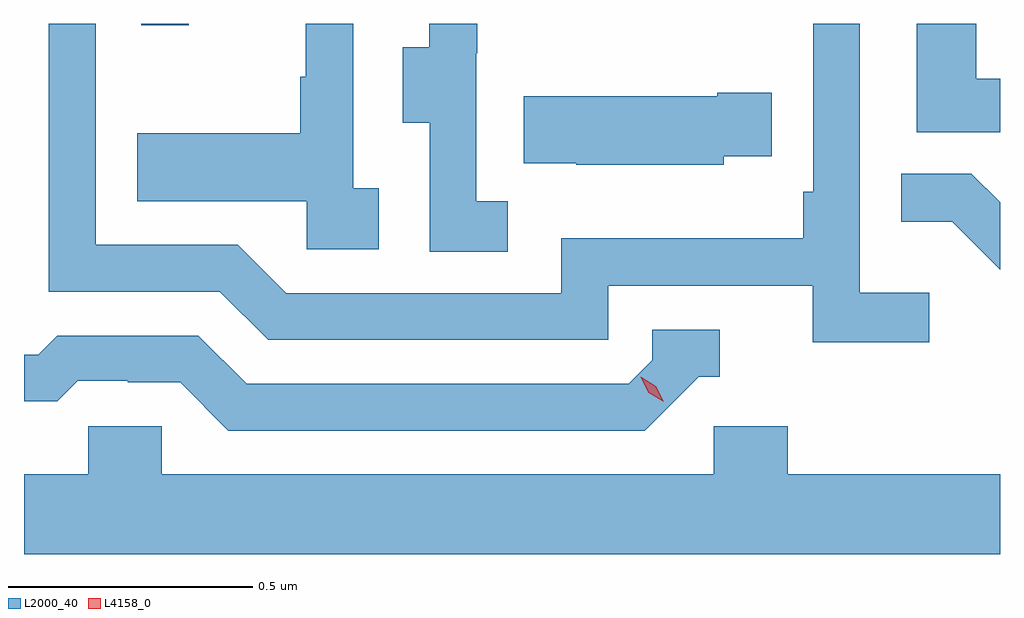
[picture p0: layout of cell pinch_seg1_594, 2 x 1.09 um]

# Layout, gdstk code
import gdstk
lib = gdstk.Library(unit=1e-6, precision=1e-09)
def R(c, l, rs):  # rectangles x0, y0, x1, y1
    for r in rs: c.add(gdstk.rectangle(r[:2], r[2:], *l))
def P(c, l, *ps):  # polygons
    for p in ps: c.add(gdstk.Polygon(p, *l))
L2000_40 = (2000, 40)
L4158_0 = (4158, 0)

pinch_seg1_594 = lib.new_cell('pinch_seg1_594')
R(pinch_seg1_594, L2000_40, [(1032.681,512.856,1032.779,512.859)])
P(pinch_seg1_594, L2000_40, [(1034.296,512.308),(1034.154,512.308),(1034.154,512.859),(1034.058,512.859),(1034.058,512.515),(1034.038,512.515),(1034.038,512.419),(1033.542,512.419),(1033.542,512.307),(1032.978,512.307),(1032.879,512.406),(1032.588,512.406),(1032.588,512.859),(1032.492,512.859),(1032.492,512.31),(1032.842,512.31),(1032.941,512.211),(1033.638,512.211),(1033.638,512.322),(1034.057,512.322),(1034.057,512.206),(1034.296,512.206)],
  [(1034.441,512.746),(1034.392,512.746),(1034.392,512.859),(1034.27,512.859),(1034.27,512.637),(1034.441,512.637)],
  [(1033.168,512.522),(1033.116,512.522),(1033.116,512.859),(1033.018,512.859),(1033.018,512.75),(1033.007,512.75),(1033.007,512.635),(1032.673,512.635),(1032.673,512.495),(1033.02,512.495),(1033.02,512.397),(1033.168,512.397)],
  [(1033.432,512.495),(1033.368,512.495),(1033.368,512.799),(1033.37,512.799),(1033.37,512.859),(1033.271,512.859),(1033.271,512.811),(1033.217,512.811),(1033.217,512.656),(1033.272,512.656),(1033.272,512.392),(1033.432,512.392)],
  [(1033.875,512.588),(1033.973,512.588),(1033.973,512.718),(1033.862,512.718),(1033.862,512.71),(1033.465,512.71),(1033.465,512.573),(1033.573,512.573),(1033.573,512.57),(1033.875,512.57)],
  [(1034.441,512.493),(1034.382,512.552),(1034.239,512.552),(1034.239,512.453),(1034.343,512.453),(1034.441,512.355)],
  [(1033.824,512.136),(1033.867,512.136),(1033.867,512.232),(1033.728,512.232),(1033.728,512.169),(1033.68,512.121),(1032.897,512.121),(1032.798,512.22),(1032.509,512.22),(1032.47,512.181),(1032.441,512.181),(1032.441,512.085),(1032.509,512.085),(1032.551,512.127),(1032.654,512.127),(1032.654,512.124),(1032.761,512.124),(1032.86,512.025),(1033.713,512.025)],
  [(1034.441,511.936),(1034.006,511.936),(1034.006,512.034),(1033.854,512.034),(1033.854,511.936),(1032.723,511.936),(1032.723,512.034),(1032.573,512.034),(1032.573,511.936),(1032.441,511.936),(1032.441,511.772),(1034.441,511.772)])
P(pinch_seg1_594, L4158_0, [(1033.752,512.084),(1033.721,512.103),(1033.705,512.135),(1033.705,512.136),(1033.705,512.136),(1033.736,512.116),(1033.752,512.084),(1033.752,512.084)])

lib.write_gds('pinch_seg1_594.gds')
